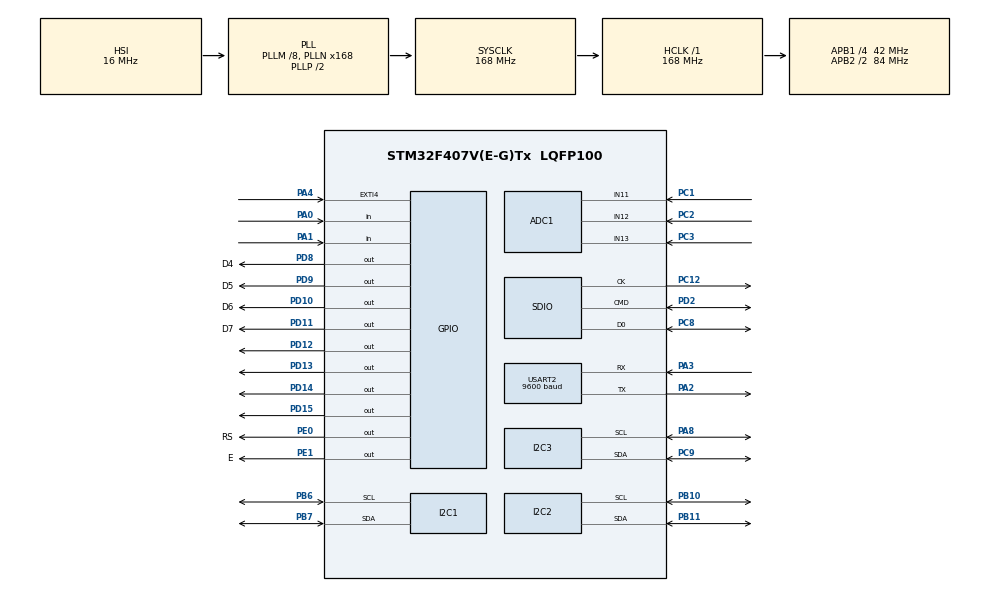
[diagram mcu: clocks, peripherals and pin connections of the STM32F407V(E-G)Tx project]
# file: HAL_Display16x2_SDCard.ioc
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ADC1.Channel-0\#ChannelRegularConversion=ADC_CHANNEL_11
ADC1.NbrOfConversionFlag=1
ADC1.Rank-0\#ChannelRegularConversion=1
ADC1.SamplingTime-0\#ChannelRegularConversion=ADC_SAMPLETIME_3CYCLES
ADC1.master=1
FATFS.BSP.number=1
FATFS0.BSP.STBoard=false
FATFS0.BSP.api=Unknown
FATFS0.BSP.i2caddr=0
FATFS0.BSP.instance=PA0-WKUP
FATFS0.BSP.ip=GPIO
FATFS0.BSP.mode=Input
FATFS0.BSP.name=Detect_SDIO
FATFS0.BSP.solution=PA0-WKUP
Mcu.Family=STM32F4
Mcu.Name=STM32F407V(E-G)Tx
Mcu.Package=LQFP100
NVIC.EXTI4_IRQn=true\:0\:0\:false\:false\:true\:true\:true
NVIC.PriorityGroup=NVIC_PRIORITYGROUP_0
NVIC.TIM2_IRQn=true\:0\:0\:false\:false\:true\:true\:true
PA0-WKUP.Signal=GPIO_Input
PA1.Signal=GPIO_Input
PA2.Mode=Asynchronous
PA2.Signal=USART2_TX
PA3.Mode=Asynchronous
PA3.Signal=USART2_RX
PA4.GPIO_ModeDefaultEXTI=GPIO_MODE_IT_FALLING
PA4.Signal=GPXTI4
PA8.Mode=I2C
PA8.Signal=I2C3_SCL
PB10.Mode=I2C
PB10.Signal=I2C2_SCL
PB11.Mode=I2C
PB11.Signal=I2C2_SDA
PB6.Mode=I2C
PB6.Signal=I2C1_SCL
PB7.Mode=I2C
PB7.Signal=I2C1_SDA
PC1.Signal=ADCx_IN11
PC12.Mode=SD_1_bit
PC12.Signal=SDIO_CK
PC2.Signal=ADCx_IN12
PC3.Signal=ADCx_IN13
PC8.Mode=SD_1_bit
PC8.Signal=SDIO_D0
PC9.Mode=I2C
PC9.Signal=I2C3_SDA
PD10.GPIO_Label=D6
PD10.Signal=GPIO_Output
PD11.GPIO_Label=D7
PD11.Signal=GPIO_Output
PD12.Signal=GPIO_Output
PD13.Signal=GPIO_Output
PD14.Signal=GPIO_Output
PD15.Signal=GPIO_Output
PD2.Mode=SD_1_bit
PD2.Signal=SDIO_CMD
PD8.GPIO_Label=D4
PD8.Signal=GPIO_Output
PD9.GPIO_Label=D5
PD9.Signal=GPIO_Output
PE0.GPIO_Label=RS
PE0.Signal=GPIO_Output
PE1.GPIO_Label=E
PE1.Signal=GPIO_Output
ProjectManager.HeapSize=0x2000
ProjectManager.StackSize=0x4000
ProjectManager.TargetToolchain=MDK-ARM V5.27
RCC.48MHZClocksFreq_Value=48000000
RCC.AHBFreq_Value=168000000
RCC.APB1CLKDivider=RCC_HCLK_DIV4
RCC.APB1Freq_Value=42000000
RCC.APB1TimFreq_Value=84000000
RCC.APB2CLKDivider=RCC_HCLK_DIV2
RCC.APB2Freq_Value=84000000
RCC.APB2TimFreq_Value=168000000
RCC.CortexFreq_Value=168000000
RCC.HCLKFreq_Value=168000000
RCC.HSE_VALUE=8000000
RCC.HSI_VALUE=16000000
RCC.LSE_VALUE=32768
RCC.PLLM=8
RCC.PLLN=168
RCC.PLLQ=7
RCC.SYSCLKFreq_VALUE=168000000
RCC.SYSCLKSource=RCC_SYSCLKSOURCE_PLLCLK
RCC.VCOOutputFreq_Value=336000000
SH.ADCx_IN11.0=ADC1_IN11,IN11
SH.ADCx_IN12.0=ADC1_IN12,IN12
SH.ADCx_IN13.0=ADC1_IN13,IN13
TIM2.Period=1000
TIM2.Prescaler=16000
TIM2.TIM_MasterOutputTrigger=TIM_TRGO_UPDATE
USART2.BaudRate=9600
USART2.VirtualMode=VM_ASYNC
VP_FATFS_VS_SDIO.Mode=SDIO
VP_TIM2_VS_ClockSourceINT.Mode=Internal
board=STM32F407G-DISC1

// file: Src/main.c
/* USER CODE BEGIN Header */
/**
     ******************************************************************************
     * @file					 : main.c
     * @brief					: Main program body
     ******************************************************************************
     * @attention
     *
     * <h2><center>&copy; Copyright (c) 2020 STMicroelectronics.
     * All rights reserved.</center></h2>
     *
     * This software component is licensed by ST under Ultimate Liberty license
     * SLA0044, the "License"; You may not use this file except in compliance with
     * the License. You may obtain a copy of the License at:
     *														 www.st.com/SLA0044
     *
     ******************************************************************************
     */
/* USER CODE END Header */

#include "main.h"
#include "fatfs.h"

/* USER CODE BEGIN Includes */
#include "sht3x.h"
#include "STM_MY_LCD16X2.h"
#include "bmp085.h"
#include "BH1750.h"
/* USER CODE END Includes */

/* USER CODE BEGIN PTD */
#define sensorsLot 8
#define circularBufferLength 10
#define circularBufferLot 10

/* USER CODE END PTD */

/* USER CODE BEGIN PM */

/*
     ++++++++++Pines para el Display 16x2 en la STM32F4 con la librer�a HAL+++++++++

                     E --> PE1
                     RS --> PE0
                     D7 --> PD11
                     D6 --> PD10
                     D5 --> PD9
                     D4 --> PD8
     */

/*
     ++++++++++Pines para la SD_Card en la STM32F4 con la librer�a HAL++++++++++++++
                     SDCS --> -
                     MOSI --> PD2
                     SCK --> PC12
                     MISO --> PC8
     */

/* USER CODE END PM */

ADC_HandleTypeDef hadc1;

I2C_HandleTypeDef hi2c1;
I2C_HandleTypeDef hi2c2;
I2C_HandleTypeDef hi2c3;

SD_HandleTypeDef hsd;

TIM_HandleTypeDef htim2;

UART_HandleTypeDef huart2;

/* USER CODE BEGIN PV */
float temperature = 0.0;
float humidity = 0.0;
int lumen = 0;
uint32_t adc1 = 0;
uint32_t adc2 = 0;
uint32_t adc3 = 0;
float BMP085_temp_K;
long BMP085_press_K;
float BH1750_lux;
FATFS myFATAFS;
FIL myFILE;
UINT testByte;
char myData[] = "Hello Worldasdas\0";
char myPath[] = "WRITE1.TXT\0";
int btncounter = 0;
int lcdcounter = 0;
int lcdcounterCallback = 0;

/* USER CODE END PV */

void SystemClock_Config(void);
static void MX_GPIO_Init(void);
static void MX_SDIO_SD_Init(void);
static void MX_ADC1_Init(void);
static void MX_I2C1_Init(void);
static void MX_I2C2_Init(void);
static void MX_I2C3_Init(void);
static void MX_USART2_UART_Init(void);
static void MX_TIM2_Init(void);
/* USER CODE BEGIN PFP */
uint16_t Read_Adc(ADC_Channel_t channel);
void USART_Puts(USART_TypeDef *USARTx, char *str);

//BH1750_SetMode(CONTINUOUS_HIGH_RES_MODE_2);

/* USER CODE END PFP */

/* USER CODE BEGIN 0 */

long map(int x, int in_min, int in_max, int out_min, int out_max) {
  return (x - in_min) * (out_max - out_min) / (in_max - in_min) + out_min;
}

float circularBuffer[circularBufferLot][circularBufferLength];
int circularBufferIndex[circularBufferLot] = {0};
int circularBufferFlag[circularBufferLot] = {0};
float minValue[circularBufferLot] = {999999999};
float maxValue[circularBufferLot] = {-999999999};

void initMinMax () {
	    for (int i = 0; i < circularBufferLot; i++)
      {
         minValue[i] = 999999999;
				maxValue[i] = -999999999;
      }
}

void appendToBuffer(int bufferID, float value)
{

   if (circularBufferIndex[bufferID] >= circularBufferLength)
   {
      circularBufferIndex[bufferID] = 0;
      if (!circularBufferFlag[bufferID])
         circularBufferFlag[bufferID] = 1;
   }
   circularBufferIndex[bufferID]++;

   circularBuffer[bufferID][circularBufferIndex[bufferID]] = value;
}

// MM =  moving mean -> moving average
float appendToBufferAndGetMM(int bufferID, float value)
{

   if (circularBufferIndex[bufferID] >= circularBufferLength)
   {
      circularBufferIndex[bufferID] = 0;
      if (!circularBufferFlag[bufferID])
         circularBufferFlag[bufferID] = 1;
   }
   circularBuffer[bufferID][circularBufferIndex[bufferID]] = value;

   float sum = 0;
   float result = 0;
   if (circularBufferFlag[bufferID] == 1)
   {
      for (int i = 0; i < circularBufferLength; i++)
      {
         sum += circularBuffer[bufferID][i];
      }
      circularBufferIndex[bufferID]++;
      result = sum / circularBufferLength;
   }
   else
   {
      for (int i = 0; i < circularBufferIndex[bufferID] + 1; i++)
      {
         sum += circularBuffer[bufferID][i];
      }
      circularBufferIndex[bufferID]++;
      result = sum / (circularBufferIndex[bufferID]);
   }
   if (result > maxValue[bufferID])
      maxValue[bufferID] = result;
   if (result < minValue[bufferID])
      minValue[bufferID] = result;
   return result;
}

float sensorValue[sensorsLot] = {0};
char *sensorName[] = {
    "Temperature",     //0 - Temperature SHT3X
    "Humidity",        //1 - Humidity SHT3X
    "Temperature 2",   //2 - BMP180 Temperature
    "Pressure",        //3 - BMP180 Pressure
    "Altitude",        //4 - BMP180 Altitude
    "Light Intensity", //5 - BH1750  Light Intensity
    "MQ7",             //6 - MQ7
    "MQ135"            //7 - MQ135
};

char *sensorUnit[] = {
    "C",     //0 - Temperature SHT3X
    "%",        //1 - Humidity SHT3X
    "C",   //2 - BMP180 Temperature
    "Pa",        //3 - BMP180 Pressure
    "m",        //4 - BMP180 Altitude
    "lux", //5 - BH1750  Light Intensity
    "",             //6 - MQ7
    ""            //7 - MQ135
};

int errorCode = 0;
char *errorString[] = {"All Ok", "Not SD"};

/* USER CODE END 0 */

int main(void)
{

   /* MCU Configuration--------------------------------------------------------*/

   /* Reset of all peripherals, Initializes the Flash interface and the Systick. */
   HAL_Init();

   /* Configure the system clock */
   SystemClock_Config();

   /* Initialize all configured peripherals */
   MX_GPIO_Init();
   MX_SDIO_SD_Init();
   MX_FATFS_Init();
   MX_ADC1_Init();
   MX_I2C1_Init();
   MX_I2C2_Init();
   MX_I2C3_Init();
   MX_USART2_UART_Init();
   MX_TIM2_Init();
   BH1750_Init(&hi2c2);
   BH1750_SetMode(CONTINUOUS_HIGH_RES_MODE_2);
   /* USER CODE BEGIN 2 */

   //Timer2
   HAL_TIM_Base_Start_IT(&htim2);

   //BMP085Calibration(&hi2c1);
   bmp_t bmp;
   bmp_init(&bmp);
   float altitud = 0.0;
   float temp = 0.0;
	initMinMax ();
   //Inicialización del Display 16x2
   LCD1602_Begin4BIT(RS_GPIO_Port, RS_Pin, E_Pin, D4_GPIO_Port, D4_Pin, D5_Pin, D6_Pin, D7_Pin);

   /* USER CODE END 2 */

   /* Infinite loop */
   /* USER CODE BEGIN WHILE */
   char buff[250];
   //Guardar datos en un .txt dentro de la SD_Card
   if (f_mount(&myFATAFS, SDPath, 1) == FR_OK)
   {
     HAL_GPIO_TogglePin(GPIOD, GPIO_PIN_12);
     f_open(&myFILE, myPath, FA_WRITE | FA_CREATE_ALWAYS);
		 	memset(buff, 0, sizeof buff);
		 sprintf(buff, "Min\t%s\tMax\tMin\t%s\tMax\tMin\t%s\tMax\tMin\t%s\tMax\tMin\t%s\tMax\tMin\t%s\tMax\tMin\t%s\tMax\r\n", sensorName[0], sensorName[1],  sensorName[3], sensorName[4], sensorName[5],  sensorName[6], sensorName[7]);

     f_write(&myFILE, buff, sizeof(buff), &testByte);
     f_close(&myFILE);
   }
   else
   {
      errorCode = 1;
   }

   int count = 0;
	 int flag = 0;
	 int flag_comPlotter = 1;
   LCD1602_noBlink();
   while (1)
   {

      /* USER CODE END WHILE */

      /* USER CODE BEGIN 3 */

      if (count % 100 == 0 && flag == 1)
      {
         if (f_mount(&myFATAFS, SDPath, 1) == FR_OK)
         {
            f_open(&myFILE, myPath, FA_OPEN_APPEND | FA_WRITE);
						memset(buff, 0, sizeof buff);

						sprintf(buff, "%.2f\t%.2f\t%.2f\t%.2f\t%.2f\t%.2f\t%.2f\t%.2f\t%.2f\t%.2f\t%.2f\t%.2f\t%.2f\t%.2f\t%.2f\t%.2f\t%.2f\t%.2f\t%.2f\t%.2f\t%.2f\t%.2f\r\n",  minValue[0],sensorValue[0],maxValue[0],minValue[1],sensorValue[1],maxValue[1],minValue[3],sensorValue[3],maxValue[3],minValue[4],sensorValue[4],maxValue[4],minValue[5],sensorValue[5],maxValue[5], minValue[6],sensorValue[6],maxValue[6],minValue[7],sensorValue[7],maxValue[7]);
            f_write(&myFILE, buff, sizeof(buff), &testByte);
            f_close(&myFILE);
         }
      }

      if (count % 10 == 0 || lcdcounterCallback == 1)
      {
				 int id=0;
				 lcdcounterCallback = 0;
         char displaybuffer[18];
				 LCD1602_clear();

				 if (lcdcounter == 0) 	{
					flag_comPlotter = 1;
					sprintf(displaybuffer, "TDII - UTN FRBB ");
					LCD1602_1stLine();
					LCD1602_print(displaybuffer);

					sprintf(displaybuffer, "Diaz - Kremer ");
					LCD1602_2ndLine();
					LCD1602_print(displaybuffer);
				 } else {
					 flag_comPlotter = 0;
					sprintf(displaybuffer, "%s :  ", sensorName[lcdcounter-1]);
					LCD1602_1stLine();
					LCD1602_print(displaybuffer);

					sprintf(displaybuffer, "%0.2lf %s", sensorValue[lcdcounter-1],sensorUnit[lcdcounter-1]);
					LCD1602_2ndLine();
					LCD1602_print(displaybuffer);
				 }
				 if(flag==0)flag=1;
      }
      else
      {

         //Imprimir en el Display

         /************ SHT3X ********************/
         SHT3X_Update();
				 sensorValue[0] = appendToBufferAndGetMM(0,SHT3X_getTemperature());
				 sensorValue[1] = appendToBufferAndGetMM(1,SHT3X_getHumidity());

         /************ BMP180 ********************/
         bmp.uncomp.temp = get_ut();
         bmp.data.temp = get_temp(&bmp);
         bmp.uncomp.press = get_up(bmp.oss);
         bmp.data.press = get_pressure(bmp);
         bmp.data.altitude = get_altitude(&bmp);

				 sensorValue[2] = appendToBufferAndGetMM(2, bmp.data.temp);
					float temp =  bmp.data.press;
					temp /= 100;
				 sensorValue[3] = appendToBufferAndGetMM(3, temp);
				 sensorValue[4] = appendToBufferAndGetMM(4,bmp.data.altitude);

         /************ BH1750_lux ********************/
         if (BH1750_OK == BH1750_ReadLight(&BH1750_lux))
         {

					 			sensorValue[5] = appendToBufferAndGetMM(5,BH1750_lux *2);
         }

         /************ MQs ********************/
         //adc1 = Read_Adc(ADC_Channel_11);
/*
				 temp =  Read_Adc(ADC_Channel_12)*3.0/4096;
				 temp = (3.0-temp)/temp;
				 temp =  (19.32  * pow(temp, -0.64));*/
				 //temp = map ( Read_Adc(ADC_Channel_13) -55 ,0,4096,400,5000);

				 	sensorValue[6] = appendToBufferAndGetMM(6, Read_Adc(ADC_Channel_12)); //MQ-7

				 	sensorValue[7] = appendToBufferAndGetMM(7,Read_Adc(ADC_Channel_11)); //MQ-135

			if ( lcdcounter == 0)
				sprintf(buff, "\r%.2f \t %.2f \t %.2f \t%.2f \t%.2f \t%.2f \t%.2f \n", sensorValue[0], sensorValue[1],  sensorValue[3]/1000, sensorValue[5], sensorValue[6], sensorValue[7]);
			else{
				if( (lcdcounter-1) ==3)
						sprintf(buff, "\r %.2f  \n", sensorValue[lcdcounter-1]/1000);
				else {
							sprintf(buff, "\r %.2f  \n", sensorValue[lcdcounter-1]);
				}
			}

				USART_Puts(USART2, buff);
      }

      count++;
   }
   /* USER CODE END 3 */
}

void SystemClock_Config(void)
{
   RCC_OscInitTypeDef RCC_OscInitStruct = {0};
   RCC_ClkInitTypeDef RCC_ClkInitStruct = {0};

   /** Configure the main internal regulator output voltage
   */
   __HAL_RCC_PWR_CLK_ENABLE();
   __HAL_PWR_VOLTAGESCALING_CONFIG(PWR_REGULATOR_VOLTAGE_SCALE1);
   /** Initializes the CPU, AHB and APB busses clocks
   */
   RCC_OscInitStruct.OscillatorType = RCC_OSCILLATORTYPE_HSI;
   RCC_OscInitStruct.HSIState = RCC_HSI_ON;
   RCC_OscInitStruct.HSICalibrationValue = RCC_HSICALIBRATION_DEFAULT;
   RCC_OscInitStruct.PLL.PLLState = RCC_PLL_ON;
   RCC_OscInitStruct.PLL.PLLSource = RCC_PLLSOURCE_HSI;
   RCC_OscInitStruct.PLL.PLLM = 8;
   RCC_OscInitStruct.PLL.PLLN = 168;
   RCC_OscInitStruct.PLL.PLLP = RCC_PLLP_DIV2;
   RCC_OscInitStruct.PLL.PLLQ = 7;
   if (HAL_RCC_OscConfig(&RCC_OscInitStruct) != HAL_OK)
   {
      Error_Handler();
   }
   /** Initializes the CPU, AHB and APB busses clocks
   */
   RCC_ClkInitStruct.ClockType = RCC_CLOCKTYPE_HCLK | RCC_CLOCKTYPE_SYSCLK | RCC_CLOCKTYPE_PCLK1 | RCC_CLOCKTYPE_PCLK2;
   RCC_ClkInitStruct.SYSCLKSource = RCC_SYSCLKSOURCE_PLLCLK;
   RCC_ClkInitStruct.AHBCLKDivider = RCC_SYSCLK_DIV1;
   RCC_ClkInitStruct.APB1CLKDivider = RCC_HCLK_DIV4;
   RCC_ClkInitStruct.APB2CLKDivider = RCC_HCLK_DIV2;

   if (HAL_RCC_ClockConfig(&RCC_ClkInitStruct, FLASH_LATENCY_5) != HAL_OK)
   {
      Error_Handler();
   }
}

static void MX_ADC1_Init(void)
{

   ADC_ChannelConfTypeDef sConfig = {0};

   /** Configure the global features of the ADC (Clock, Resolution, Data Alignment and number of conversion)
   */
   hadc1.Instance = ADC1;
   hadc1.Init.ClockPrescaler = ADC_CLOCK_SYNC_PCLK_DIV4;
   hadc1.Init.Resolution = ADC_RESOLUTION_12B;
   hadc1.Init.ScanConvMode = DISABLE;
   hadc1.Init.ContinuousConvMode = DISABLE;
   hadc1.Init.DiscontinuousConvMode = DISABLE;
   hadc1.Init.ExternalTrigConvEdge = ADC_EXTERNALTRIGCONVEDGE_NONE;
   hadc1.Init.ExternalTrigConv = ADC_SOFTWARE_START;
   hadc1.Init.DataAlign = ADC_DATAALIGN_RIGHT;
   hadc1.Init.NbrOfConversion = 1;
   hadc1.Init.DMAContinuousRequests = DISABLE;
   hadc1.Init.EOCSelection = ADC_EOC_SINGLE_CONV;
   if (HAL_ADC_Init(&hadc1) != HAL_OK)
   {
      Error_Handler();
   }
   /** Configure for the selected ADC regular channel its corresponding rank in the sequencer and its sample time.
   */
   sConfig.Channel = ADC_CHANNEL_11;
   sConfig.Rank = 1;
   sConfig.SamplingTime = ADC_SAMPLETIME_3CYCLES;
   if (HAL_ADC_ConfigChannel(&hadc1, &sConfig) != HAL_OK)
   {
      Error_Handler();
   }
}

static void MX_I2C1_Init(void)
{

   hi2c1.Instance = I2C1;
   hi2c1.Init.ClockSpeed = 100000;
   hi2c1.Init.DutyCycle = I2C_DUTYCYCLE_2;
   hi2c1.Init.OwnAddress1 = 0;
   hi2c1.Init.AddressingMode = I2C_ADDRESSINGMODE_7BIT;
   hi2c1.Init.DualAddressMode = I2C_DUALADDRESS_DISABLE;
   hi2c1.Init.OwnAddress2 = 0;
   hi2c1.Init.GeneralCallMode = I2C_GENERALCALL_DISABLE;
   hi2c1.Init.NoStretchMode = I2C_NOSTRETCH_DISABLE;
   if (HAL_I2C_Init(&hi2c1) != HAL_OK)
   {
      Error_Handler();
   }
}

static void MX_I2C2_Init(void)
{

   hi2c2.Instance = I2C2;
   hi2c2.Init.ClockSpeed = 100000;
   hi2c2.Init.DutyCycle = I2C_DUTYCYCLE_2;
   hi2c2.Init.OwnAddress1 = 0;
   hi2c2.Init.AddressingMode = I2C_ADDRESSINGMODE_7BIT;
   hi2c2.Init.DualAddressMode = I2C_DUALADDRESS_DISABLE;
   hi2c2.Init.OwnAddress2 = 0;
   hi2c2.Init.GeneralCallMode = I2C_GENERALCALL_DISABLE;
   hi2c2.Init.NoStretchMode = I2C_NOSTRETCH_DISABLE;
   if (HAL_I2C_Init(&hi2c2) != HAL_OK)
   {
      Error_Handler();
   }
}

static void MX_I2C3_Init(void)
{

   hi2c3.Instance = I2C3;
   hi2c3.Init.ClockSpeed = 100000;
   hi2c3.Init.DutyCycle = I2C_DUTYCYCLE_2;
   hi2c3.Init.OwnAddress1 = 0;
   hi2c3.Init.AddressingMode = I2C_ADDRESSINGMODE_7BIT;
   hi2c3.Init.DualAddressMode = I2C_DUALADDRESS_DISABLE;
   hi2c3.Init.OwnAddress2 = 0;
   hi2c3.Init.GeneralCallMode = I2C_GENERALCALL_DISABLE;
   hi2c3.Init.NoStretchMode = I2C_NOSTRETCH_DISABLE;
   if (HAL_I2C_Init(&hi2c3) != HAL_OK)
   {
      Error_Handler();
   }
}

static void MX_SDIO_SD_Init(void)
{

   hsd.Instance = SDIO;
   hsd.Init.ClockEdge = SDIO_CLOCK_EDGE_RISING;
   hsd.Init.ClockBypass = SDIO_CLOCK_BYPASS_DISABLE;
   hsd.Init.ClockPowerSave = SDIO_CLOCK_POWER_SAVE_DISABLE;
   hsd.Init.BusWide = SDIO_BUS_WIDE_1B;
   hsd.Init.HardwareFlowControl = SDIO_HARDWARE_FLOW_CONTROL_DISABLE;
   hsd.Init.ClockDiv = 0;
}

static void MX_TIM2_Init(void)
{

   TIM_ClockConfigTypeDef sClockSourceConfig = {0};
   TIM_MasterConfigTypeDef sMasterConfig = {0};

   htim2.Instance = TIM2;
   htim2.Init.Prescaler = 16000;
   htim2.Init.CounterMode = TIM_COUNTERMODE_UP;
   htim2.Init.Period = 1000;
   htim2.Init.ClockDivision = TIM_CLOCKDIVISION_DIV1;
   htim2.Init.AutoReloadPreload = TIM_AUTORELOAD_PRELOAD_DISABLE;
   if (HAL_TIM_Base_Init(&htim2) != HAL_OK)
   {
      Error_Handler();
   }
   sClockSourceConfig.ClockSource = TIM_CLOCKSOURCE_INTERNAL;
   if (HAL_TIM_ConfigClockSource(&htim2, &sClockSourceConfig) != HAL_OK)
   {
      Error_Handler();
   }
   sMasterConfig.MasterOutputTrigger = TIM_TRGO_UPDATE;
   sMasterConfig.MasterSlaveMode = TIM_MASTERSLAVEMODE_DISABLE;
   if (HAL_TIMEx_MasterConfigSynchronization(&htim2, &sMasterConfig) != HAL_OK)
   {
      Error_Handler();
   }
}

static void MX_USART2_UART_Init(void)
{

   huart2.Instance = USART2;
   huart2.Init.BaudRate = 9600;
   huart2.Init.WordLength = UART_WORDLENGTH_8B;
   huart2.Init.StopBits = UART_STOPBITS_1;
   huart2.Init.Parity = UART_PARITY_NONE;
   huart2.Init.Mode = UART_MODE_TX_RX;
   huart2.Init.HwFlowCtl = UART_HWCONTROL_NONE;
   huart2.Init.OverSampling = UART_OVERSAMPLING_16;
   if (HAL_UART_Init(&huart2) != HAL_OK)
   {
      Error_Handler();
   }
}

static void MX_GPIO_Init(void)
{
   GPIO_InitTypeDef GPIO_InitStruct = {0};

   /* GPIO Ports Clock Enable */
   __HAL_RCC_GPIOC_CLK_ENABLE();
   __HAL_RCC_GPIOA_CLK_ENABLE();
   __HAL_RCC_GPIOB_CLK_ENABLE();
   __HAL_RCC_GPIOD_CLK_ENABLE();
   __HAL_RCC_GPIOE_CLK_ENABLE();

   /*Configure GPIO pin Output Level */
   HAL_GPIO_WritePin(GPIOD, D4_Pin | D5_Pin | D6_Pin | D7_Pin | GPIO_PIN_12 | GPIO_PIN_13 | GPIO_PIN_14 | GPIO_PIN_15, GPIO_PIN_RESET);

   /*Configure GPIO pin Output Level */
   HAL_GPIO_WritePin(GPIOE, RS_Pin | E_Pin, GPIO_PIN_RESET);

   /*Configure GPIO pins : PA0 PA1 */
   GPIO_InitStruct.Pin = GPIO_PIN_0 | GPIO_PIN_1;
   GPIO_InitStruct.Mode = GPIO_MODE_INPUT;
   GPIO_InitStruct.Pull = GPIO_NOPULL;
   HAL_GPIO_Init(GPIOA, &GPIO_InitStruct);

   /*Configure GPIO pin : PA4 */
   GPIO_InitStruct.Pin = GPIO_PIN_4;
   GPIO_InitStruct.Mode = GPIO_MODE_IT_FALLING;
   GPIO_InitStruct.Pull = GPIO_NOPULL;
   HAL_GPIO_Init(GPIOA, &GPIO_InitStruct);

   /*Configure GPIO pins : D4_Pin D5_Pin D6_Pin D7_Pin
                PD12 PD13 PD14 PD15 */
   GPIO_InitStruct.Pin = D4_Pin | D5_Pin | D6_Pin | D7_Pin | GPIO_PIN_12 | GPIO_PIN_13 | GPIO_PIN_14 | GPIO_PIN_15;
   GPIO_InitStruct.Mode = GPIO_MODE_OUTPUT_PP;
   GPIO_InitStruct.Pull = GPIO_NOPULL;
   GPIO_InitStruct.Speed = GPIO_SPEED_FREQ_LOW;
   HAL_GPIO_Init(GPIOD, &GPIO_InitStruct);

   /*Configure GPIO pins : RS_Pin E_Pin */
   GPIO_InitStruct.Pin = RS_Pin | E_Pin;
   GPIO_InitStruct.Mode = GPIO_MODE_OUTPUT_PP;
   GPIO_InitStruct.Pull = GPIO_NOPULL;
   GPIO_InitStruct.Speed = GPIO_SPEED_FREQ_LOW;
   HAL_GPIO_Init(GPIOE, &GPIO_InitStruct);

   /* EXTI interrupt init*/
   HAL_NVIC_SetPriority(EXTI4_IRQn, 0, 0);
   HAL_NVIC_EnableIRQ(EXTI4_IRQn);
}

/* USER CODE BEGIN 4 */

//Interrupción Externa PA4 - Pulsador
void HAL_GPIO_EXTI_Callback(uint16_t GPIO_Pin)
{
   //Prevent unused argument(s) compilation warning
   UNUSED(GPIO_Pin);

   //Delay para evitar el rebote del pulsador
   //for(uint32_t i=0; i<1000000; i++);
   //HAL_Delay(20);

   if (btncounter % 2 == 0)
   {
      HAL_GPIO_TogglePin(GPIOD, GPIO_PIN_15);
      lcdcounter++;
      lcdcounterCallback = 1;

      if (lcdcounter > sensorsLot)
         lcdcounter = 0;
   }
   for (uint32_t i = 0; i < 20000000; i++);

   btncounter++;
}

//Timer2
void HAL_TIM_PeriodElapsedCallback(TIM_HandleTypeDef *htim)
{

   /* Prevent unused argument(s) compilation warning */
   UNUSED(htim);

   /* NOTE : This function should not be modified, when the callback is needed,
        the HAL_TIM_PeriodElapsedCallback could be implemented in the user file
    */
   HAL_GPIO_TogglePin(GPIOD, GPIO_PIN_14);
}

uint16_t Read_Adc(ADC_Channel_t channel)
{
   ADC_ChannelConfTypeDef sConfig;

   /* Configure ADC regular channel */
   sConfig.Channel = (uint8_t)channel;
   sConfig.Rank = 1;

   sConfig.SamplingTime = ADC_SAMPLETIME_15CYCLES;
   sConfig.Offset = 0;

   /* Set handle */
   hadc1.Instance = ADC1;

   /* Return zero */
   if (HAL_ADC_ConfigChannel(&hadc1, &sConfig) != HAL_OK)
   {
      return 0;
   }

   /* Start conversion */
   if (HAL_ADC_Start(&hadc1) != HAL_OK)
   {
      return 0;
   }

   /* Poll for end */
   HAL_ADC_PollForConversion(&hadc1, 1000);

   /* Check if the continous conversion of regular channel is finished */
   if (HAL_ADC_GetState(&hadc1) == 0x201)
   {

      // Get the converted value of regular channel
      return HAL_ADC_GetValue(&hadc1);
   }

   /* Return zero */
   return 0;
}

void USART_Puts(USART_TypeDef *USARTx, char *str)
{
   /* Go through entire string */
   while (*str)
   {
      /* Wait to be ready, buffer empty */
      USART_WAIT(USARTx);
      /* Send data */
      USART_WRITE_DATA(USARTx, (uint16_t)(*str++));
      /* Wait to be ready, buffer empty */
      USART_WAIT(USARTx);
   }
}

/* USER CODE END 4 */

void Error_Handler(void)
{
}

/************************ (C) COPYRIGHT STMicroelectronics *****END OF FILE****/
